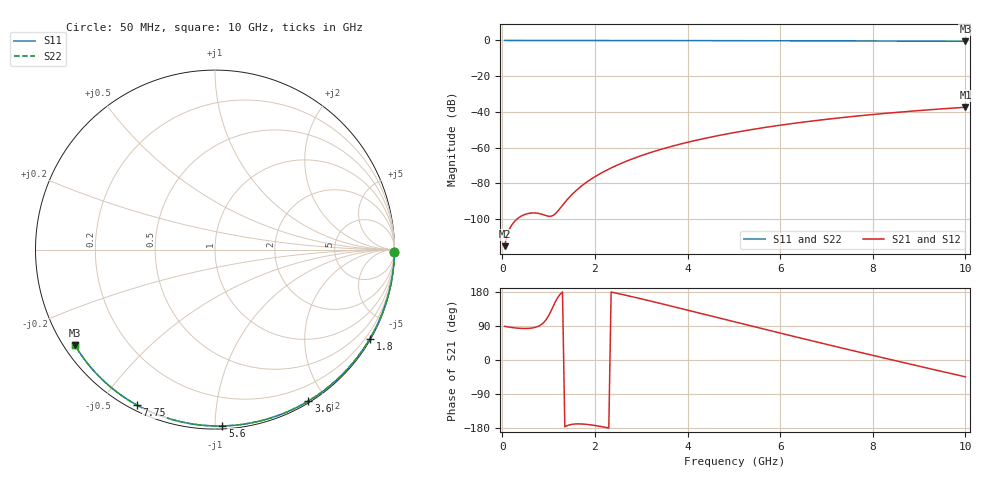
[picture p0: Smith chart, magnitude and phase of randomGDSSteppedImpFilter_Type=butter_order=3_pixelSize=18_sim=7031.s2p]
! freq	dB(S11)	phase(S11)	dB(S12)	phase(S12)
!  dB(S21)	phase(S21)	dB(S22)	phase(S22)
!S-par simulation data
#  GHz  S  DB  R 50
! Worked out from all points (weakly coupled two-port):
!   200 points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, 50 MHz to 10 GHz, reference 50 ohm
!   highest |S21| = -37.39 dB at 10 GHz (marker M1); lowest = -115.1 dB at 50 MHz (marker M2)
!   lowest |S11| = -0.5 dB at 10 GHz (marker M3), VSWR 35.18, Z = 1.56 - j15.4 ohm
!   |S11| at or under -10 dB: nowhere
!   |S22| runs from -0.5 to 0.0 dB; largest |S21 - S12| = 0
!   S11 on the Smith chart (normalised r, x): 50 MHz: open; 1.8 GHz: 0.03, -3.74; 3.6 GHz: 0.02, -1.79; 5.6 GHz: 0.02, -1.04; 7.75 GHz: 0.02, -0.62; 10 GHz: 0.03, -0.31
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0.05  -0.00 -0.8  -115.15 88.8  -115.15 88.8  -0.00 -0.8
0.45  -0.01 -7.6  -97.80 83.2  -97.80 83.2  -0.01 -7.6
0.9  -0.02 -15.1  -97.66 99.6  -97.66 99.6  -0.02 -15.1
1.3  -0.03 -21.7  -92.25 179.5  -92.25 179.5  -0.03 -21.7
1.75  -0.04 -29.1  -80.68 -169.1  -80.68 -169.1  -0.04 -29.1
1.8  -0.04 -29.9  -79.71 -169.6  -79.71 -169.6  -0.04 -29.9
1.95  -0.04 -32.3  -77.08 -171.9  -77.08 -171.9  -0.04 -32.3
2.1  -0.04 -34.8  -74.75 -174.8  -74.75 -174.8  -0.04 -34.8
2.3  -0.05 -38.0  -72.00 -179.5  -72.00 -179.5  -0.05 -38.0
2.5  -0.05 -41.2  -69.56 175.4  -69.56 175.4  -0.05 -41.2
2.9  -0.06 -47.5  -65.40 164.3  -65.40 164.3  -0.06 -47.5
3.4  -0.07 -55.3  -61.15 149.6  -61.15 149.6  -0.07 -55.3
3.6  -0.08 -58.3  -59.67 143.7  -59.67 143.7  -0.08 -58.3
4.3  -0.10 -68.8  -55.21 122.5  -55.21 122.5  -0.10 -68.8
5.05  -0.12 -79.8  -51.36 99.7  -51.36 99.7  -0.12 -79.8
5.6  -0.14 -87.6  -48.99 83.1  -48.99 83.1  -0.14 -87.6
6.15  -0.17 -95.2  -46.90 66.6  -46.90 66.6  -0.17 -95.2
6.7  -0.20 -102.7  -45.06 50.2  -45.06 50.2  -0.20 -102.7
7.75  -0.27 -116.6  -42.07 19.4  -42.07 19.4  -0.27 -116.6
8.35  -0.32 -124.4  -40.63 2.1  -40.63 2.1  -0.32 -124.4
9.2  -0.40 -135.4  -38.84 -22.0  -38.84 -22.0  -0.40 -135.4
10  -0.49 -145.7  -37.39 -44.4  -37.39 -44.4  -0.49 -145.7
